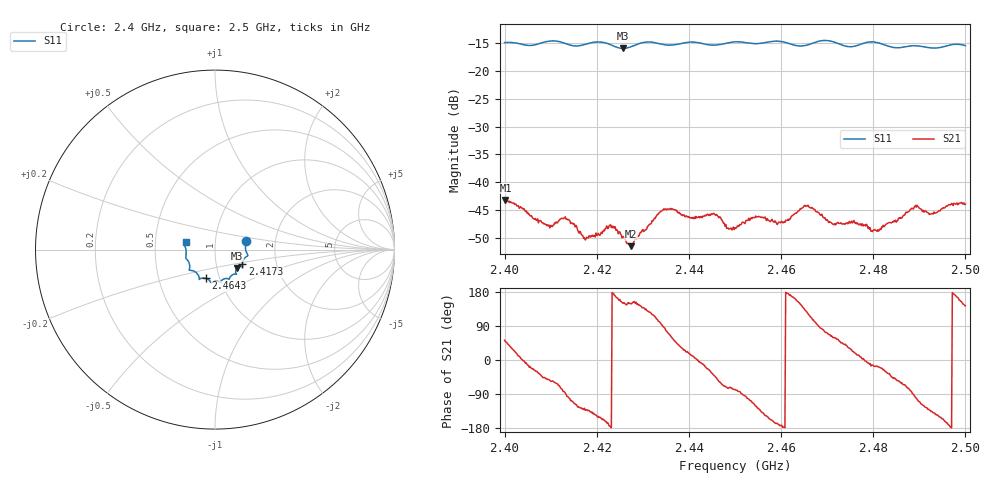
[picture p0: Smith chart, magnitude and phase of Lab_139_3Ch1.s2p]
# Hz S RI R 50
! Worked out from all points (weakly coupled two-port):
!   601 points, 2.4 GHz to 2.5 GHz, reference 50 ohm
!   highest |S21| = -43.19 dB at 2.4002 GHz (marker M1); lowest = -51.5 dB at 2.4273 GHz (marker M2)
!   lowest |S11| = -15.9 dB at 2.4257 GHz (marker M3), VSWR 1.38, Z = 62.4 - j13.1 ohm
!   |S11| at or under -10 dB: start of sweep to end of sweep
!   S12 and S22 are empty: the file has one direction only
!   S11 on the Smith chart (normalised r, x): 2.4 GHz: 1.41, +0.14; 2.4173 GHz: 1.34, -0.23; 2.4643 GHz: 0.86, -0.28; 2.5 GHz: 0.72, +0.06
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2.4e9  0.1733 0.0495  0.00425 0.00547  0 0  0 0
2.400167e9  0.1739 0.0488  0.00457 0.0052  0 0  0 0
2.409333e9  0.1826 -0.0302  0.00257 -0.00323  0 0  0 0
2.4135e9  0.1698 -0.043  -0.000475 -0.00464  0 0  0 0
2.416667e9  0.1529 -0.0749  -0.00207 -0.00264  0 0  0 0
2.417333e9  0.1521 -0.0824  -0.00192 -0.0025  0 0  0 0
2.423167e9  0.1439 -0.0933  -0.0039 -9.86e-05  0 0  0 0
2.425667e9  0.1225 -0.1023  -0.00278 0.00163  0 0  0 0
2.427333e9  0.1156 -0.1173  -0.00227 0.00138  0 0  0 0
2.433333e9  0.1128 -0.1365  -0.00113 0.00501  0 0  0 0
2.4455e9  0.051 -0.1631  0.00388 -0.00345  0 0  0 0
2.45e9  0.0296 -0.1809  0.000805 -0.00381  0 0  0 0
2.455e9  0.00176 -0.1767  -0.00294 -0.00387  0 0  0 0
2.460333e9  -0.0242 -0.1819  -0.00431 -0.000172  0 0  0 0
2.464333e9  -0.0502 -0.1603  -0.00472 0.00328  0 0  0 0
2.466667e9  -0.0762 -0.1596  -0.0021 0.00554  0 0  0 0
2.4715e9  -0.0872 -0.1603  0.00209 0.00356  0 0  0 0
2.48e9  -0.1431 -0.1139  0.00357 -0.000926  0 0  0 0
2.483333e9  -0.1411 -0.0894  0.00349 -0.00255  0 0  0 0
2.489333e9  -0.1628 -0.0443  -0.00109 -0.00585  0 0  0 0
2.4925e9  -0.1602 -0.0195  -0.00368 -0.00362  0 0  0 0
2.5e9  -0.164 0.0422  -0.00505 0.0038  0 0  0 0
